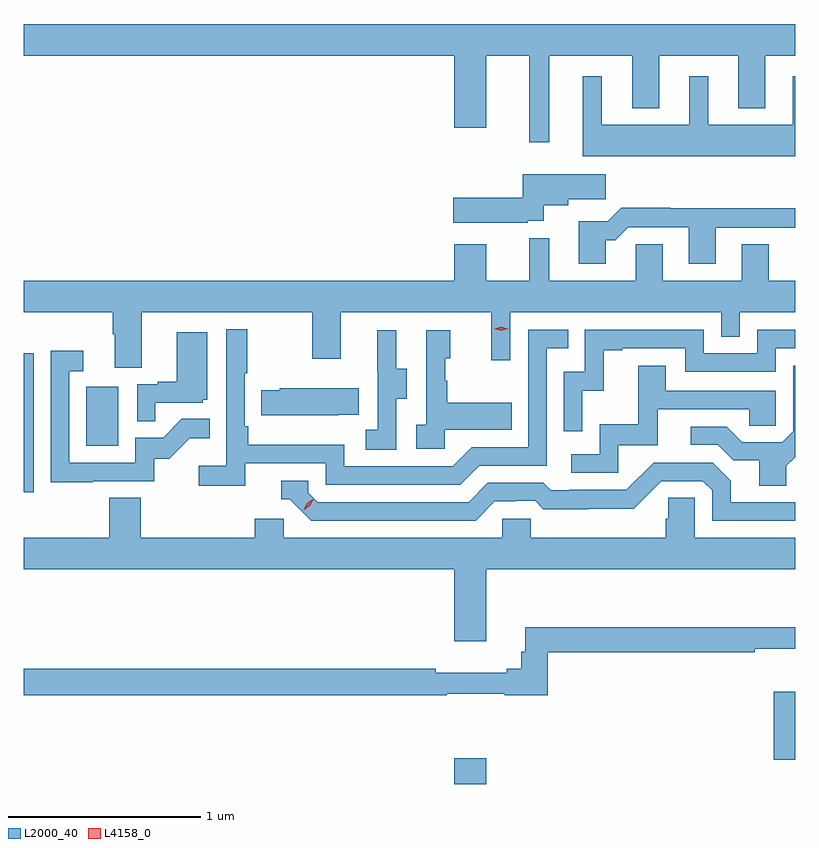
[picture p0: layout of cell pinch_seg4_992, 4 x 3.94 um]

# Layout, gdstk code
import gdstk
lib = gdstk.Library(unit=1e-6, precision=1e-09)
def R(c, l, rs):  # rectangles x0, y0, x1, y1
    for r in rs: c.add(gdstk.rectangle(r[:2], r[2:], *l))
def P(c, l, *ps):  # polygons
    for p in ps: c.add(gdstk.Polygon(p, *l))
L2000_40 = (2000, 40)
L4158_0 = (4158, 0)

pinch_seg4_992 = lib.new_cell('pinch_seg4_992')
R(pinch_seg4_992, L2000_40, [(800.372,771.731,800.536,771.865), (802.028,771.858,802.139,772.21), (798.139,773.244,798.19,773.965), (798.464,773.484,798.628,773.791)])
P(pinch_seg4_992, L2000_40, [(800.863,775.508),(801.293,775.508),(801.293,775.235),(801.433,775.235),(801.433,775.508),(801.845,775.508),(801.845,775.235),(801.985,775.235),(801.985,775.508),(802.139,775.508),(802.139,775.672),(798.139,775.672),(798.139,775.508),(800.372,775.508),(800.372,775.134),(800.536,775.134),(800.536,775.508),(800.759,775.508),(800.759,775.059),(800.863,775.059)],
  [(802.139,775.402),(802.127,775.402),(802.127,775.15),(801.688,775.15),(801.688,775.402),(801.59,775.402),(801.59,775.15),(801.136,775.15),(801.136,775.402),(801.038,775.402),(801.038,774.986),(802.139,774.986)],
  [(800.751,774.653),(800.836,774.653),(800.836,774.731),(800.962,774.731),(800.962,774.763),(801.157,774.763),(801.157,774.892),(800.726,774.892),(800.726,774.771),(800.367,774.771),(800.367,774.641),(800.751,774.641)],
  [(801.157,774.551),(801.206,774.551),(801.273,774.618),(801.587,774.618),(801.587,774.429),(801.727,774.429),(801.727,774.615),(802.139,774.615),(802.139,774.716),(801.491,774.716),(801.491,774.719),(801.236,774.719),(801.166,774.649),(801.017,774.649),(801.017,774.429),(801.157,774.429)],
  [(798.751,774.176),(799.636,774.176),(799.636,773.937),(799.783,773.937),(799.783,774.176),(800.564,774.176),(800.564,773.928),(800.661,773.928),(800.661,774.176),(801.756,774.176),(801.756,774.049),(801.852,774.049),(801.852,774.176),(802.139,774.176),(802.139,774.34),(802.003,774.34),(802.003,774.53),(801.863,774.53),(801.863,774.34),(801.451,774.34),(801.451,774.53),(801.312,774.53),(801.312,774.34),(800.863,774.34),(800.863,774.56),(800.759,774.56),(800.759,774.34),(800.536,774.34),(800.536,774.529),(800.372,774.529),(800.372,774.34),(798.139,774.34),(798.139,774.176),(798.599,774.176),(798.599,774.064),(798.611,774.064),(798.611,773.89),(798.751,773.89)],
  [(799.286,773.394),(799.704,773.394),(799.704,773.283),(800.401,773.283),(800.5,773.382),(800.85,773.382),(800.85,773.991),(800.963,773.991),(800.963,774.087),(800.754,774.087),(800.754,773.478),(800.463,773.478),(800.364,773.379),(799.8,773.379),(799.8,773.491),(799.304,773.491),(799.304,773.587),(799.284,773.587),(799.284,773.86),(799.297,773.86),(799.297,774.088),(799.188,774.088),(799.188,773.38),(799.047,773.38),(799.047,773.278),(799.286,773.278)],
  [(801.036,773.771),(801.146,773.771),(801.146,773.979),(801.241,773.979),(801.241,773.991),(801.57,773.991),(801.57,773.868),(802.038,773.868),(802.038,773.991),(802.139,773.991),(802.139,774.087),(801.942,774.087),(801.942,773.964),(801.666,773.964),(801.666,774.087),(801.048,774.087),(801.048,773.868),(800.94,773.868),(800.94,773.559),(801.036,773.559)],
  [(800.07,773.728),(800.125,773.728),(800.125,773.883),(800.071,773.883),(800.071,774.085),(799.973,774.085),(799.973,773.871),(799.974,773.871),(799.974,773.567),(799.911,773.567),(799.911,773.464),(800.07,773.464)],
  [(800.322,773.567),(800.669,773.567),(800.669,773.707),(800.335,773.707),(800.335,773.822),(800.325,773.822),(800.325,773.94),(800.35,773.94),(800.35,774.085),(800.226,774.085),(800.226,773.594),(800.175,773.594),(800.175,773.469),(800.322,773.469)],
  [(798.821,773.709),(799.068,773.709),(799.068,773.724),(799.09,773.724),(799.09,774.073),(798.932,774.073),(798.932,773.818),(798.833,773.818),(798.833,773.805),(798.726,773.805),(798.726,773.611),(798.821,773.611)],
  [(798.497,773.301),(798.816,773.301),(798.816,773.418),(798.892,773.418),(798.999,773.525),(799.103,773.525),(799.103,773.624),(798.959,773.624),(798.861,773.526),(798.717,773.526),(798.717,773.397),(798.375,773.397),(798.375,773.871),(798.448,773.871),(798.448,773.977),(798.279,773.977),(798.279,773.296),(798.497,773.296)],
  [(802.093,773.38),(802.139,773.426),(802.139,773.899),(802.128,773.899),(802.128,773.559),(802.071,773.502),(801.865,773.502),(801.784,773.583),(801.597,773.583),(801.597,773.49),(801.738,773.49),(801.818,773.41),(801.953,773.41),(801.953,773.278),(802.093,773.278)],
  [(801.222,773.487),(801.427,773.487),(801.427,773.673),(801.901,773.673),(801.901,773.589),(802.038,773.589),(802.038,773.769),(801.469,773.769),(801.469,773.899),(801.325,773.899),(801.325,773.596),(801.126,773.596),(801.126,773.442),(800.979,773.442),(800.979,773.346),(801.222,773.346)],
  [(799.769,773.645),(799.877,773.645),(799.877,773.782),(799.467,773.782),(799.467,773.772),(799.369,773.772),(799.369,773.642),(799.769,773.642)],
  [(800.581,773.196),(800.688,773.196),(800.688,773.199),(800.791,773.199),(800.833,773.157),(801.066,773.157),(801.066,773.159),(801.302,773.159),(801.444,773.301),(801.66,773.301),(801.708,773.253),(801.708,773.097),(802.139,773.097),(802.139,773.193),(801.805,773.193),(801.805,773.303),(801.711,773.397),(801.405,773.397),(801.264,773.256),(800.971,773.256),(800.971,773.253),(800.872,773.253),(800.833,773.292),(800.544,773.292),(800.445,773.193),(799.662,773.193),(799.614,773.241),(799.614,773.304),(799.475,773.304),(799.475,773.208),(799.518,773.208),(799.629,773.097),(800.482,773.097)],
  [(800.536,772.844),(802.139,772.844),(802.139,773.008),(801.618,773.008),(801.618,773.216),(801.481,773.216),(801.481,773.106),(801.467,773.106),(801.467,773.008),(800.769,773.008),(800.769,773.106),(800.619,773.106),(800.619,773.008),(799.488,773.008),(799.488,773.106),(799.337,773.106),(799.337,773.008),(798.746,773.008),(798.746,773.216),(798.581,773.216),(798.581,773.008),(798.139,773.008),(798.139,772.844),(800.372,772.844),(800.372,772.47),(800.536,772.47)],
  [(800.332,772.2),(800.632,772.2),(800.632,772.192),(800.855,772.192),(800.855,772.414),(801.929,772.414),(801.929,772.432),(802.139,772.432),(802.139,772.543),(800.738,772.543),(800.738,772.416),(800.719,772.416),(800.719,772.328),(800.642,772.328),(800.642,772.309),(800.276,772.309),(800.276,772.328),(798.139,772.328),(798.139,772.192),(800.332,772.192)])
P(pinch_seg4_992, L4158_0, [(800.614,774.081),(800.578,774.091),(800.578,774.091),(800.578,774.092),(800.614,774.101),(800.649,774.092),(800.65,774.091),(800.649,774.091)],
  [(799.591,773.154),(799.591,773.154),(799.608,773.187),(799.638,773.207),(799.639,773.207),(799.639,773.206),(799.622,773.174),(799.592,773.154)])

lib.write_gds('pinch_seg4_992.gds')
